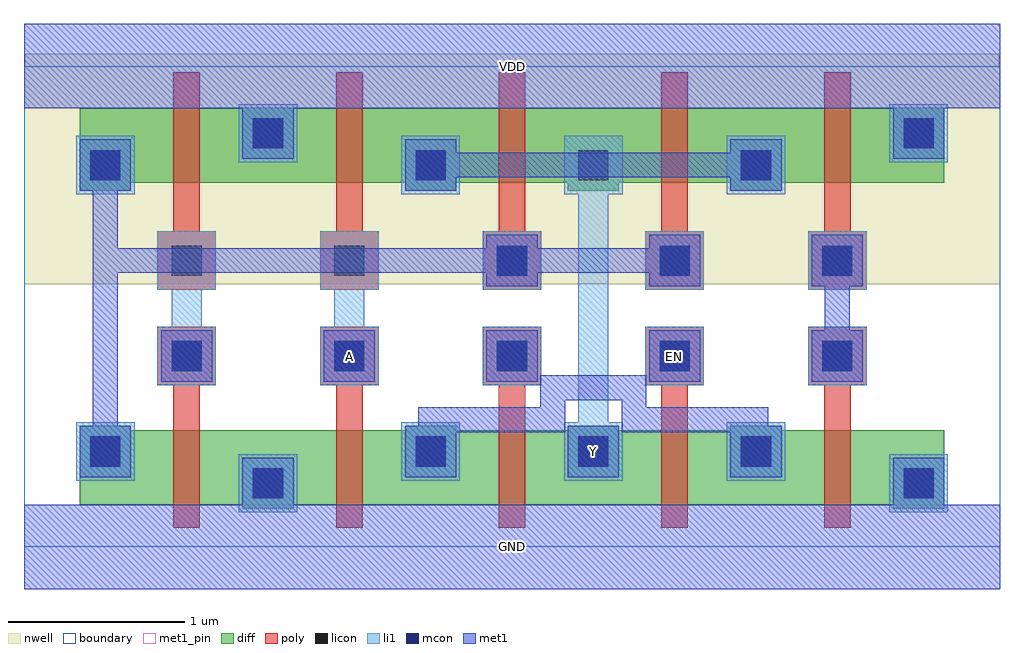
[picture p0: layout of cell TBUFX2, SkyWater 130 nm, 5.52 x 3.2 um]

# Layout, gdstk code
import gdstk
lib = gdstk.Library(unit=1e-6, precision=1e-09)
def R(c, l, rs):  # rectangles x0, y0, x1, y1
    for r in rs: c.add(gdstk.rectangle(r[:2], r[2:], *l))
def A(c, l, x, y, w, h, nx, ny, dx, dy):  # array of equal rectangles
    R(c, l, [(x+i*dx, y+j*dy, x+i*dx+w, y+j*dy+h) for i in range(nx) for j in range(ny)])
def P(c, l, *ps):  # polygons
    for p in ps: c.add(gdstk.Polygon(p, *l))
nwell = (64, 20)
diff = (65, 20)
poly = (66, 20)
licon = (66, 44)
li1 = (67, 20)
mcon = (67, 44)
met1_pin = (68, 16)
met1 = (68, 20)
boundary = (235, 4)

tbufx2 = lib.new_cell('TBUFX2')
P(tbufx2, nwell, [(0,1.485),(0,2.72),(0.005,2.72),(0.005,2.79),(5.515,2.79),(5.515,2.72),(5.52,2.72),(5.52,1.485)])
P(tbufx2, diff, [(1.235,0.215),(1.235,0.24),(0.315,0.24),(0.315,0.685),(0.605,0.685),(0.605,0.66),(2.155,0.66),(2.155,0.685),(2.445,0.685),(2.445,0.66),(3.075,0.66),(3.075,0.685),(3.365,0.685),(3.365,0.66),(3.995,0.66),(3.995,0.685),(4.285,0.685),(4.285,0.66),(5.205,0.66),(5.205,0.215),(4.915,0.215),(4.915,0.24),(1.525,0.24),(1.525,0.215)],
  [(0.315,2.015),(0.315,2.48),(1.235,2.48),(1.235,2.485),(1.525,2.485),(1.525,2.48),(4.915,2.48),(4.915,2.485),(5.205,2.485),(5.205,2.06),(4.285,2.06),(4.285,2.015),(3.995,2.015),(3.995,2.06),(3.365,2.06),(3.365,2.015),(3.075,2.015),(3.075,2.06),(2.445,2.06),(2.445,2.015),(2.155,2.015),(2.155,2.06),(0.605,2.06),(0.605,2.015)])
P(tbufx2, poly, [(0.845,0.11),(0.845,0.915),(0.755,0.915),(0.755,1.245),(1.085,1.245),(1.085,0.915),(0.995,0.915),(0.995,0.11)],
  [(1.765,0.11),(1.765,0.915),(1.675,0.915),(1.675,1.245),(2.005,1.245),(2.005,0.915),(1.915,0.915),(1.915,0.11)],
  [(2.685,0.11),(2.685,0.915),(2.595,0.915),(2.595,1.245),(2.925,1.245),(2.925,0.915),(2.835,0.915),(2.835,0.11)],
  [(3.605,0.11),(3.605,0.915),(3.515,0.915),(3.515,1.245),(3.845,1.245),(3.845,0.915),(3.755,0.915),(3.755,0.11)],
  [(4.525,0.11),(4.525,0.915),(4.435,0.915),(4.435,1.245),(4.765,1.245),(4.765,0.915),(4.675,0.915),(4.675,0.11)],
  [(0.755,1.455),(0.755,1.785),(0.845,1.785),(0.845,2.685),(0.995,2.685),(0.995,1.785),(1.085,1.785),(1.085,1.455)],
  [(1.675,1.455),(1.675,1.785),(1.765,1.785),(1.765,2.685),(1.915,2.685),(1.915,1.785),(2.005,1.785),(2.005,1.455)],
  [(2.595,1.455),(2.595,1.785),(2.685,1.785),(2.685,2.685),(2.835,2.685),(2.835,1.785),(2.925,1.785),(2.925,1.455)],
  [(3.515,1.455),(3.515,1.785),(3.605,1.785),(3.605,2.685),(3.755,2.685),(3.755,1.785),(3.845,1.785),(3.845,1.455)],
  [(4.435,1.455),(4.435,1.785),(4.525,1.785),(4.525,2.685),(4.675,2.685),(4.675,1.785),(4.765,1.785),(4.765,1.455)])
A(tbufx2, licon, 2.215, 0.455, 0.17, 0.17, 3, 2, 0.92, 1.62)
A(tbufx2, licon, 0.835, 0.995, 0.17, 0.17, 5, 2, 0.92, 0.54)
R(tbufx2, licon, [(1.295,0.275,1.465,0.445), (4.975,0.275,5.145,0.445), (0.375,0.455,0.545,0.625), (0.375,2.075,0.545,2.245), (1.295,2.255,1.465,2.425), (4.975,2.255,5.145,2.425)])
A(tbufx2, li1, 0.295, 0.375, 0.33, 0.33, 3, 2, 1.84, 1.62)
A(tbufx2, li1, 2.595, 0.915, 0.33, 0.33, 3, 2, 0.92, 0.54)
R(tbufx2, li1, [(1.215,0.195,1.545,0.525), (4.895,0.195,5.225,0.525), (1.215,2.175,1.545,2.505), (4.895,2.175,5.225,2.505)])
P(tbufx2, li1, [(0.755,0.915),(0.755,1.245),(0.835,1.245),(0.835,1.455),(0.755,1.455),(0.755,1.785),(1.085,1.785),(1.085,1.455),(1.005,1.455),(1.005,1.245),(1.085,1.245),(1.085,0.915)],
  [(1.675,0.915),(1.675,1.245),(1.755,1.245),(1.755,1.455),(1.675,1.455),(1.675,1.785),(2.005,1.785),(2.005,1.455),(1.925,1.455),(1.925,1.245),(2.005,1.245),(2.005,0.915)],
  [(3.055,0.375),(3.055,0.705),(3.135,0.705),(3.135,1.995),(3.055,1.995),(3.055,2.325),(3.385,2.325),(3.385,1.995),(3.305,1.995),(3.305,0.705),(3.385,0.705),(3.385,0.375)])
A(tbufx2, mcon, 2.215, 0.455, 0.17, 0.17, 3, 1, 0.92, 0)
A(tbufx2, mcon, 0.835, 0.995, 0.17, 0.17, 5, 1, 0.92, 0)
A(tbufx2, mcon, 2.675, 1.535, 0.17, 0.17, 3, 1, 0.92, 0)
A(tbufx2, mcon, 0.375, 2.075, 0.17, 0.17, 3, 1, 1.84, 0)
R(tbufx2, mcon, [(1.295,0.275,1.465,0.445), (4.975,0.275,5.145,0.445), (0.375,0.455,0.545,0.625), (1.295,2.255,1.465,2.425), (4.975,2.255,5.145,2.425)])
R(tbufx2, met1_pin, [(0,-0.24,5.52,0.24), (3.075,0.395,3.365,0.685), (1.695,0.935,1.985,1.225), (3.535,0.935,3.825,1.225), (0,2.48,5.52,2.96)])
A(tbufx2, met1, 0.775, 0.935, 0.29, 0.29, 4, 1, 0.92, 0)
R(tbufx2, met1, [(3.075,0.395,3.365,0.685)])
P(tbufx2, met1, [(0,-0.24),(0,0.24),(1.235,0.24),(1.235,0.505),(1.525,0.505),(1.525,0.24),(4.915,0.24),(4.915,0.505),(5.205,0.505),(5.205,0.24),(5.52,0.24),(5.52,-0.24)],
  [(2.155,0.395),(2.155,0.685),(2.23,0.685),(2.23,0.79),(2.92,0.79),(2.92,0.97),(3.52,0.97),(3.52,0.79),(4.21,0.79),(4.21,0.685),(4.285,0.685),(4.285,0.395),(3.995,0.395),(3.995,0.65),(3.38,0.65),(3.38,0.83),(3.06,0.83),(3.06,0.65),(2.445,0.65),(2.445,0.395)],
  [(4.455,0.935),(4.455,1.225),(4.53,1.225),(4.53,1.475),(4.455,1.475),(4.455,1.765),(4.745,1.765),(4.745,1.475),(4.67,1.475),(4.67,1.225),(4.745,1.225),(4.745,0.935)],
  [(0.315,0.395),(0.315,0.685),(0.39,0.685),(0.39,2.015),(0.315,2.015),(0.315,2.305),(0.605,2.305),(0.605,2.015),(0.53,2.015),(0.53,1.69),(2.615,1.69),(2.615,1.765),(2.905,1.765),(2.905,1.69),(3.535,1.69),(3.535,1.765),(3.825,1.765),(3.825,1.475),(3.535,1.475),(3.535,1.55),(2.905,1.55),(2.905,1.475),(2.615,1.475),(2.615,1.55),(0.53,1.55),(0.53,0.685),(0.605,0.685),(0.605,0.395)],
  [(2.155,2.015),(2.155,2.305),(2.445,2.305),(2.445,2.23),(3.995,2.23),(3.995,2.305),(4.285,2.305),(4.285,2.015),(3.995,2.015),(3.995,2.09),(2.445,2.09),(2.445,2.015)],
  [(1.235,2.195),(1.235,2.48),(0,2.48),(0,2.96),(5.52,2.96),(5.52,2.48),(5.205,2.48),(5.205,2.195),(4.915,2.195),(4.915,2.48),(1.525,2.48),(1.525,2.195)])
R(tbufx2, boundary, [(0,0,5.52,2.72)])
tbufx2.add(gdstk.Label('Y', (3.22,0.54), layer=68, texttype=5))
tbufx2.add(gdstk.Label('A', (1.84,1.08), layer=68, texttype=5))
tbufx2.add(gdstk.Label('EN', (3.68,1.08), layer=68, texttype=5))
tbufx2.add(gdstk.Label('GND', (2.76,0), layer=68, texttype=5))
tbufx2.add(gdstk.Label('VDD', (2.76,2.72), layer=68, texttype=5))

lib.write_gds('TBUFX2.gds')
